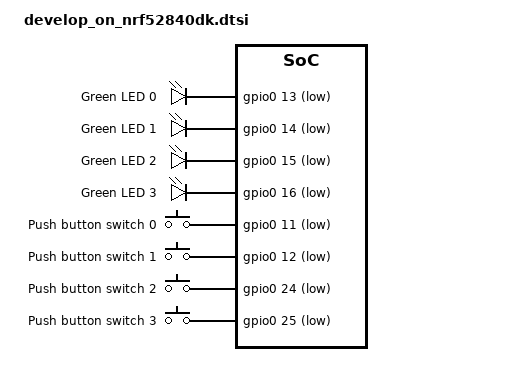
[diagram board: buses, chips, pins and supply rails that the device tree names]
&pinctrl {
	uart0_default: uart0_default {
		group1 {
			psels = <NRF_PSEL(UART_TX, 0, 6)>,
				<NRF_PSEL(UART_RTS, 0, 5)>;
		};
		group2 {
			psels = <NRF_PSEL(UART_RX, 0, 8)>,
				<NRF_PSEL(UART_CTS, 0, 7)>;
			bias-pull-up;
		};
	};
	uart0_sleep: uart0_sleep {
		group1 {
			psels = <NRF_PSEL(UART_TX, 0, 6)>,
				<NRF_PSEL(UART_RX, 0, 8)>,
				<NRF_PSEL(UART_RTS, 0, 5)>,
				<NRF_PSEL(UART_CTS, 0, 7)>;
			low-power-enable;
		};
	};
};
&pwm0 {
	status = "disabled";
};

/ {
	leds {
		led0: led_0 {
			gpios = <&gpio0 13 GPIO_ACTIVE_LOW>;
			label = "Green LED 0";
		};
		led1: led_1 {
			gpios = <&gpio0 14 GPIO_ACTIVE_LOW>;
			label = "Green LED 1";
		};
		led2: led_2 {
			gpios = <&gpio0 15 GPIO_ACTIVE_LOW>;
			label = "Green LED 2";
		};
		led3: led_3 {
			gpios = <&gpio0 16 GPIO_ACTIVE_LOW>;
			label = "Green LED 3";
		};
	};
	buttons {
		button0: button_0 {
			gpios = <&gpio0 11 (GPIO_PULL_UP | GPIO_ACTIVE_LOW)>;
			label = "Push button switch 0";
		};
		button1: button_1 {
			gpios = <&gpio0 12 (GPIO_PULL_UP | GPIO_ACTIVE_LOW)>;
			label = "Push button switch 1";
		};
		button2: button_2 {
			gpios = <&gpio0 24 (GPIO_PULL_UP | GPIO_ACTIVE_LOW)>;
			label = "Push button switch 2";
		};
		button3: button_3 {
			gpios = <&gpio0 25 (GPIO_PULL_UP | GPIO_ACTIVE_LOW)>;
			label = "Push button switch 3";
		};
	};
};
